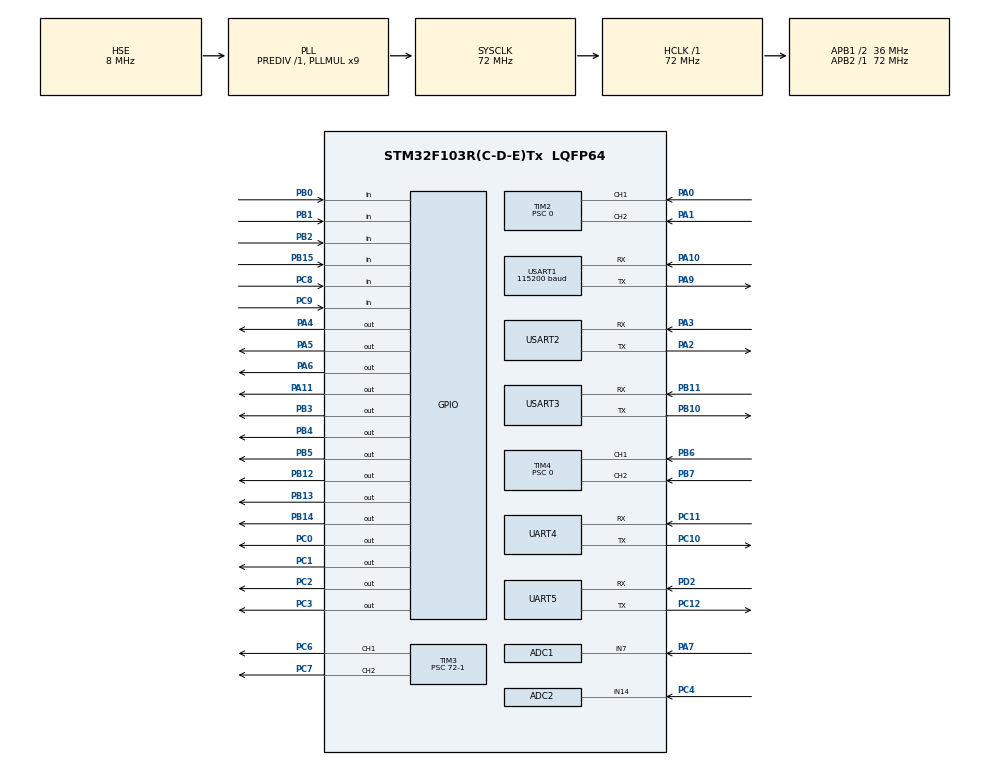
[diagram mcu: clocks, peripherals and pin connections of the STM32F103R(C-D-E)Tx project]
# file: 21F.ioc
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ADC1.Channel-1\#ChannelRegularConversion=ADC_CHANNEL_7
ADC1.NbrOfConversionFlag=1
ADC1.master=1
ADC2.Channel-0\#ChannelRegularConversion=ADC_CHANNEL_14
ADC2.NbrOfConversionFlag=1
ADC2.Rank-0\#ChannelRegularConversion=1
ADC2.SamplingTime-0\#ChannelRegularConversion=ADC_SAMPLETIME_13CYCLES_5
Mcu.Family=STM32F1
Mcu.Name=STM32F103R(C-D-E)Tx
Mcu.Package=LQFP64
NVIC.PriorityGroup=NVIC_PRIORITYGROUP_4
NVIC.TIM5_IRQn=true\:0\:0\:false\:false\:true\:true\:true\:true
NVIC.TIM6_IRQn=true\:0\:0\:false\:false\:true\:true\:true\:true
NVIC.TIM7_IRQn=true\:0\:0\:false\:false\:true\:true\:true\:true
NVIC.UART4_IRQn=true\:0\:0\:false\:false\:true\:true\:true\:true
NVIC.UART5_IRQn=true\:0\:0\:false\:false\:true\:true\:true\:true
NVIC.USART1_IRQn=true\:0\:0\:false\:false\:true\:true\:true\:true
NVIC.USART2_IRQn=true\:0\:0\:false\:false\:true\:true\:true\:true
NVIC.USART3_IRQn=true\:0\:0\:false\:false\:true\:true\:true\:true
PA0-WKUP.Signal=S_TIM2_CH1_ETR
PA1.Signal=S_TIM2_CH2
PA10.Mode=Asynchronous
PA10.Signal=USART1_RX
PA11.PinState=GPIO_PIN_SET
PA11.Signal=GPIO_Output
PA13.Mode=Serial_Wire
PA13.Signal=SYS_JTMS-SWDIO
PA14.Mode=Serial_Wire
PA14.Signal=SYS_JTCK-SWCLK
PA2.Mode=Asynchronous
PA2.Signal=USART2_TX
PA3.Mode=Asynchronous
PA3.Signal=USART2_RX
PA4.Signal=GPIO_Output
PA5.Signal=GPIO_Output
PA6.Signal=GPIO_Output
PA7.Signal=ADCx_IN7
PA9.Mode=Asynchronous
PA9.Signal=USART1_TX
PB0.Signal=GPIO_Input
PB1.Signal=GPIO_Input
PB10.Mode=Asynchronous
PB10.Signal=USART3_TX
PB11.Mode=Asynchronous
PB11.Signal=USART3_RX
PB12.PinState=GPIO_PIN_SET
PB12.Signal=GPIO_Output
PB13.PinState=GPIO_PIN_SET
PB13.Signal=GPIO_Output
PB14.GPIO_PuPd=GPIO_PULLUP
PB14.Signal=GPIO_Output
PB15.GPIO_PuPd=GPIO_PULLUP
PB15.Signal=GPIO_Input
PB2.Signal=GPIO_Input
PB3.PinState=GPIO_PIN_SET
PB3.Signal=GPIO_Output
PB4.GPIO_PuPd=GPIO_PULLUP
PB4.Signal=GPIO_Output
PB5.GPIO_PuPd=GPIO_PULLUP
PB5.Signal=GPIO_Output
PB6.Signal=S_TIM4_CH1
PB7.Signal=S_TIM4_CH2
PC0.Signal=GPIO_Output
PC1.Signal=GPIO_Output
PC10.Mode=Asynchronous
PC10.Signal=UART4_TX
PC11.Mode=Asynchronous
PC11.Signal=UART4_RX
PC12.Mode=Asynchronous
PC12.Signal=UART5_TX
PC2.Signal=GPIO_Output
PC3.Signal=GPIO_Output
PC4.Signal=ADCx_IN14
PC6.Signal=S_TIM3_CH1
PC7.Signal=S_TIM3_CH2
PC8.GPIO_PuPd=GPIO_PULLUP
PC8.Signal=GPIO_Input
PC9.GPIO_PuPd=GPIO_PULLUP
PC9.Signal=GPIO_Input
PD0-OSC_IN.Mode=HSE-External-Oscillator
PD0-OSC_IN.Signal=RCC_OSC_IN
PD1-OSC_OUT.Mode=HSE-External-Oscillator
PD1-OSC_OUT.Signal=RCC_OSC_OUT
PD2.Mode=Asynchronous
PD2.Signal=UART5_RX
ProjectManager.HeapSize=0x200
ProjectManager.StackSize=0x400
ProjectManager.TargetToolchain=MDK-ARM V5.32
RCC.ADCPresc=RCC_ADCPCLK2_DIV6
RCC.AHBFreq_Value=72000000
RCC.APB1CLKDivider=RCC_HCLK_DIV2
RCC.APB1Freq_Value=36000000
RCC.APB1TimFreq_Value=72000000
RCC.APB2Freq_Value=72000000
RCC.APB2TimFreq_Value=72000000
RCC.HCLKFreq_Value=72000000
RCC.PLLMUL=RCC_PLL_MUL9
RCC.PLLSourceVirtual=RCC_PLLSOURCE_HSE
RCC.SYSCLKFreq_VALUE=72000000
RCC.SYSCLKSource=RCC_SYSCLKSOURCE_PLLCLK
RCC.USBFreq_Value=72000000
SH.ADCx_IN14.0=ADC2_IN14,IN14
SH.ADCx_IN7.0=ADC1_IN7,IN7
SH.S_TIM2_CH1_ETR.0=TIM2_CH1,Encoder_Interface
SH.S_TIM2_CH2.0=TIM2_CH2,Encoder_Interface
SH.S_TIM3_CH1.0=TIM3_CH1,PWM Generation1 CH1
SH.S_TIM3_CH2.0=TIM3_CH2,PWM Generation2 CH2
SH.S_TIM4_CH1.0=TIM4_CH1,Encoder_Interface
SH.S_TIM4_CH2.0=TIM4_CH2,Encoder_Interface
TIM2.EncoderMode=TIM_ENCODERMODE_TI12
TIM2.Prescaler=0
TIM3.Channel-PWM\ Generation1\ CH1=TIM_CHANNEL_1
TIM3.Channel-PWM\ Generation2\ CH2=TIM_CHANNEL_2
TIM3.Period=100-1
TIM3.Prescaler=72-1
TIM4.EncoderMode=TIM_ENCODERMODE_TI12
TIM4.Prescaler=0
TIM5.Period=500-1
TIM5.Prescaler=7200-1
TIM6.Period=90-1
TIM6.Prescaler=800-1
TIM7.Period=900-1
TIM7.Prescaler=800-1
UART4.VirtualMode=Asynchronous
UART5.VirtualMode=Asynchronous
USART1.BaudRate=115200
USART1.VirtualMode=VM_ASYNC
USART2.VirtualMode=VM_ASYNC
USART3.VirtualMode=VM_ASYNC
VP_TIM3_VS_ClockSourceINT.Mode=Internal
VP_TIM5_VS_ClockSourceINT.Mode=Internal
VP_TIM6_VS_ClockSourceINT.Mode=Enable_Timer
VP_TIM7_VS_ClockSourceINT.Mode=Enable_Timer
board=custom

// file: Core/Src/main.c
/* USER CODE BEGIN Header */
/**
 ******************************************************************************
 * @file           : main.c
 * @brief          : Main program body
 ******************************************************************************
 * @attention
 *
 * Copyright (c) 2026 STMicroelectronics.
 * All rights reserved.
 *
 * This software is licensed under terms that can be found in the LICENSE file
 * in the root directory of this software component.
 * If no LICENSE file comes with this software, it is provided AS-IS.
 *
 ******************************************************************************
 */
/* USER CODE END Header */
#include "main.h"
#include "adc.h"
#include "tim.h"
#include "usart.h"
#include "gpio.h"

/* USER CODE BEGIN Includes */
#include "headfile.h"

/* USER CODE END Includes */

/* USER CODE BEGIN PM */
uint8_t g_oledstring[20];
uint8_t g_usart4_receivedata;

uint8_t pc0_mode;
uint8_t pc1_mode;
uint8_t pc2_mode;
uint8_t pc3_mode;

float battery_voltage;

uint8_t Car_Mode = Run_Mode; // 参考旧工程：上电先进入正常运行模式

/* USER CODE END PM */

void SystemClock_Config(void);

int main(void)
{

  /* MCU Configuration--------------------------------------------------------*/

  /* Reset of all peripherals, Initializes the Flash interface and the Systick. */
  HAL_Init();

  /* Configure the system clock */
  SystemClock_Config();

  /* USER CODE BEGIN SysInit */
  delay_init(72);
  /* USER CODE END SysInit */

  /* Initialize all configured peripherals */
  MX_GPIO_Init();
  MX_TIM2_Init();
  MX_TIM3_Init();
  MX_TIM4_Init();
  MX_USART1_UART_Init();
  MX_UART4_Init();
  MX_UART5_Init();
  MX_USART2_UART_Init();
  MX_USART3_UART_Init();
  MX_TIM6_Init();
  MX_ADC2_Init();
  MX_TIM7_Init();
  MX_ADC1_Init();
  MX_TIM5_Init();
  /* USER CODE BEGIN 2 */
  /* Emergency-safe boot: reset must always send both gimbal motors zero
     current and disable commands before any display or control startup. */
  gimbal_disable_all();
  delay_ms(100);
  OLED_Init();
  delay_ms(100);
  OLED_Clear();

  // HAL_TIM_Encoder_Start(&htim2, TIM_CHANNEL_ALL);
  // HAL_TIM_Encoder_Start(&htim4, TIM_CHANNEL_ALL);
  protocol_init(); // PID protocol parser init

  Motor_Init();
  Encoder_Init();
  ZigbeeGrey_Init();
  maixcam_Init(&huart3);
  PID_param_init();
  control_reset();
  HAL_TIM_Base_Start_IT(&htim5);
  HAL_TIM_Base_Start_IT(&htim6);
  HAL_TIM_Base_Start_IT(&htim7);
  HAL_UART_Receive_IT(&huart1, &UART1_RxByte, 1);
  HAL_UART_Receive_IT(&huart4, &g_usart4_receivedata, 1);

  /* USER CODE END 2 */

  /* Infinite loop */
  /* USER CODE BEGIN WHILE */
  while (1)
  {
    /* 主循环只处理非实时任务，10ms 电机控制由 TIM7 调度。 */
    key_scan();
    ZigbeeGrey_Task_WithTick();
    control_line_sensor_update();
    maixcam_Update();
    gimbal_task();
    Protocol_Datas_Proc();
    PID_Debug_OLED_Show();

    /* USER CODE END WHILE */

  }
}

void SystemClock_Config(void)
{
  RCC_OscInitTypeDef RCC_OscInitStruct = {0};
  RCC_ClkInitTypeDef RCC_ClkInitStruct = {0};
  RCC_PeriphCLKInitTypeDef PeriphClkInit = {0};

  /** Initializes the RCC Oscillators according to the specified parameters
  * in the RCC_OscInitTypeDef structure.
  */
  RCC_OscInitStruct.OscillatorType = RCC_OSCILLATORTYPE_HSE;
  RCC_OscInitStruct.HSEState = RCC_HSE_ON;
  RCC_OscInitStruct.HSEPredivValue = RCC_HSE_PREDIV_DIV1;
  RCC_OscInitStruct.HSIState = RCC_HSI_ON;
  RCC_OscInitStruct.PLL.PLLState = RCC_PLL_ON;
  RCC_OscInitStruct.PLL.PLLSource = RCC_PLLSOURCE_HSE;
  RCC_OscInitStruct.PLL.PLLMUL = RCC_PLL_MUL9;
  if (HAL_RCC_OscConfig(&RCC_OscInitStruct) != HAL_OK)
  {
    Error_Handler();
  }

  /** Initializes the CPU, AHB and APB buses clocks
  */
  RCC_ClkInitStruct.ClockType = RCC_CLOCKTYPE_HCLK|RCC_CLOCKTYPE_SYSCLK
                              |RCC_CLOCKTYPE_PCLK1|RCC_CLOCKTYPE_PCLK2;
  RCC_ClkInitStruct.SYSCLKSource = RCC_SYSCLKSOURCE_PLLCLK;
  RCC_ClkInitStruct.AHBCLKDivider = RCC_SYSCLK_DIV1;
  RCC_ClkInitStruct.APB1CLKDivider = RCC_HCLK_DIV2;
  RCC_ClkInitStruct.APB2CLKDivider = RCC_HCLK_DIV1;

  if (HAL_RCC_ClockConfig(&RCC_ClkInitStruct, FLASH_LATENCY_2) != HAL_OK)
  {
    Error_Handler();
  }
  PeriphClkInit.PeriphClockSelection = RCC_PERIPHCLK_ADC;
  PeriphClkInit.AdcClockSelection = RCC_ADCPCLK2_DIV6;
  if (HAL_RCCEx_PeriphCLKConfig(&PeriphClkInit) != HAL_OK)
  {
    Error_Handler();
  }
}

/* USER CODE BEGIN 4 */

void HAL_UART_RxCpltCallback(UART_HandleTypeDef *huart)
{
  if (huart->Instance == USART1)
  {
    PID_Debug_RxCount++;
    protocol_data_recv(&UART1_RxByte, 1);

    HAL_UART_Receive_IT(&huart1, &UART1_RxByte, 1);
  }
  if (huart->Instance == UART4)
  {
    jy61p_ReceiveData(g_usart4_receivedata);
    HAL_UART_Receive_IT(&huart4, &g_usart4_receivedata, 1);
  }
  if (huart->Instance == USART3)
  {
    maixcam_RxCpltCallback(huart);
  }
}

void HAL_UART_ErrorCallback(UART_HandleTypeDef *huart)
{
  if (huart->Instance == USART1)
  {
    __HAL_UART_CLEAR_PEFLAG(huart);
    __HAL_UART_CLEAR_FEFLAG(huart);
    __HAL_UART_CLEAR_NEFLAG(huart);
    __HAL_UART_CLEAR_OREFLAG(huart);
    HAL_UART_Receive_IT(&huart1, &UART1_RxByte, 1);
  }
  else if (huart->Instance == UART4)
  {
    __HAL_UART_CLEAR_OREFLAG(huart);
    HAL_UART_Receive_IT(&huart4, &g_usart4_receivedata, 1);
  }
  else if (huart->Instance == USART3)
  {
    __HAL_UART_CLEAR_OREFLAG(huart);
    maixcam_RxErrorCallback(huart);
  }

}

/* USER CODE END 4 */

void Error_Handler(void)
{
  __disable_irq();
  while (1)
  {
  }
}
